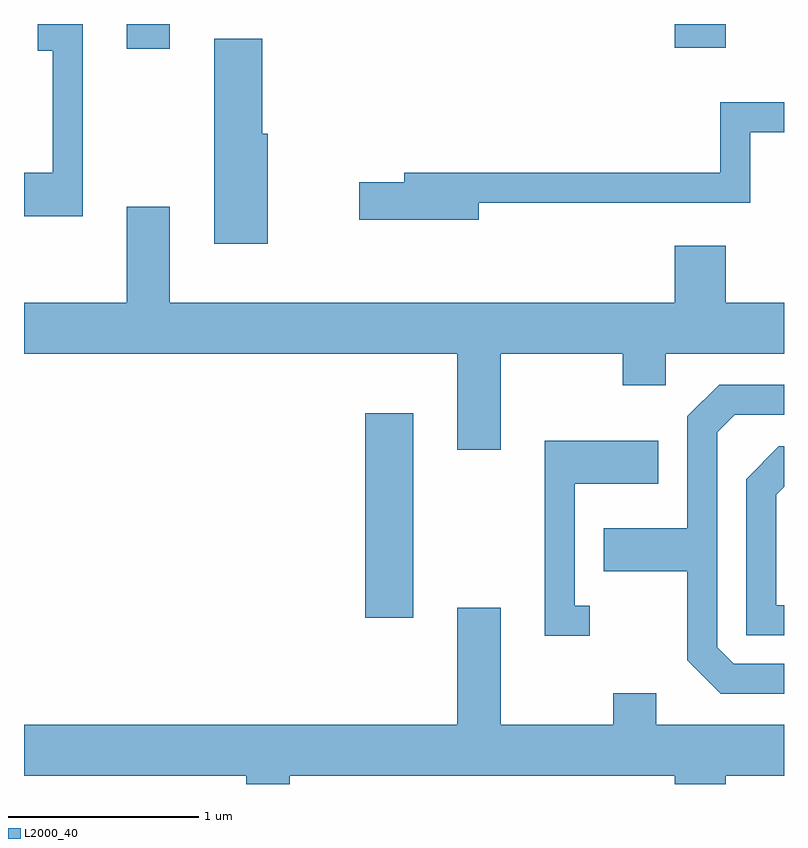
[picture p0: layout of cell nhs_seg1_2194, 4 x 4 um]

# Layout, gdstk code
import gdstk
lib = gdstk.Library(unit=1e-6, precision=1e-09)
def R(c, l, rs):  # rectangles x0, y0, x1, y1
    for r in rs: c.add(gdstk.rectangle(r[:2], r[2:], *l))
def P(c, l, *ps):  # polygons
    for p in ps: c.add(gdstk.Polygon(p, *l))
L2000_40 = (2000, 40)

nhs_seg1_2194 = lib.new_cell('nhs_seg1_2194')
R(nhs_seg1_2194, L2000_40, [(253.406,942.586,253.659,943.664), (252.151,945.581,252.379,945.712), (255.036,945.586,255.304,945.712)])
P(nhs_seg1_2194, L2000_40, [(251.919,945.712),(251.683,945.712),(251.683,945.571),(251.761,945.571),(251.761,944.929),(251.611,944.929),(251.611,944.701),(251.919,944.701)],
  [(252.894,945.134),(252.864,945.134),(252.864,945.634),(252.611,945.634),(252.611,944.556),(252.894,944.556)],
  [(254.004,944.771),(255.434,944.771),(255.434,945.141),(255.611,945.141),(255.611,945.299),(255.276,945.299),(255.276,944.929),(253.611,944.929),(253.611,944.879),(253.376,944.879),(253.376,944.681),(254.004,944.681)],
  [(254.119,943.976),(254.761,943.976),(254.761,943.811),(254.989,943.811),(254.989,943.976),(255.611,943.976),(255.611,944.244),(255.304,944.244),(255.304,944.544),(255.036,944.544),(255.036,944.244),(252.379,944.244),(252.379,944.749),(252.151,944.749),(252.151,944.244),(251.611,944.244),(251.611,943.976),(253.891,943.976),(253.891,943.471),(254.119,943.471)],
  [(255.611,942.344),(255.347,942.344),(255.259,942.432),(255.259,943.564),(255.352,943.656),(255.611,943.656),(255.611,943.814),(255.269,943.814),(255.101,943.647),(255.101,943.059),(254.661,943.059),(254.661,942.831),(255.101,942.831),(255.101,942.364),(255.279,942.186),(255.611,942.186)],
  [(254.588,942.649),(254.509,942.649),(254.509,943.291),(254.949,943.291),(254.949,943.519),(254.351,943.519),(254.351,942.491),(254.588,942.491)],
  [(255.611,942.654),(255.569,942.654),(255.569,943.234),(255.611,943.276),(255.611,943.489),(255.584,943.489),(255.411,943.317),(255.411,942.496),(255.611,942.496)],
  [(254.711,942.189),(254.711,942.024),(254.119,942.024),(254.119,942.639),(253.891,942.639),(253.891,942.024),(251.611,942.024),(251.611,941.756),(252.781,941.756),(252.781,941.712),(253.009,941.712),(253.009,941.756),(255.036,941.756),(255.036,941.712),(255.304,941.712),(255.304,941.756),(255.611,941.756),(255.611,942.024),(254.939,942.024),(254.939,942.189)])

lib.write_gds('nhs_seg1_2194.gds')
